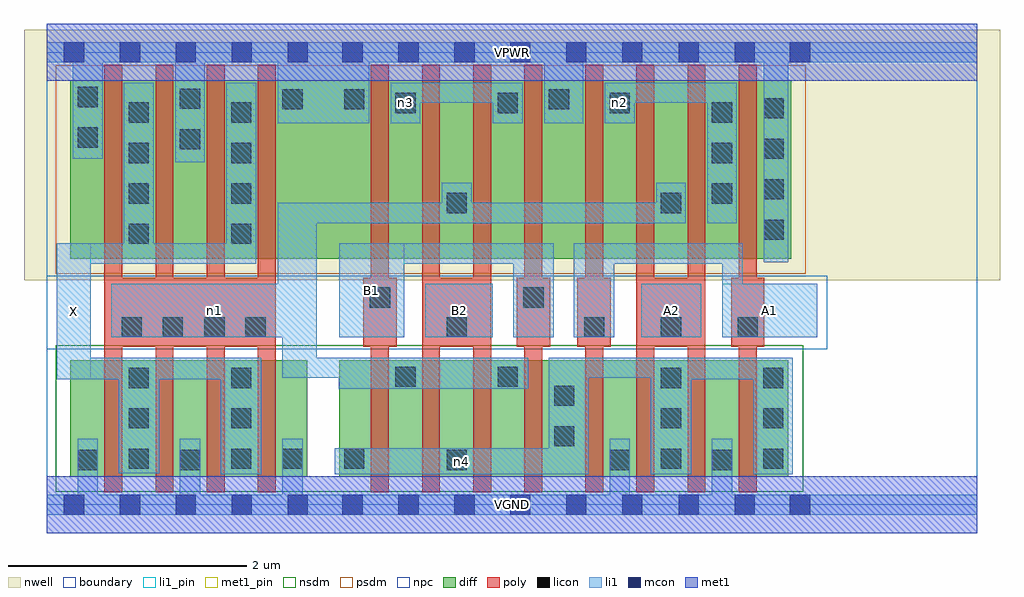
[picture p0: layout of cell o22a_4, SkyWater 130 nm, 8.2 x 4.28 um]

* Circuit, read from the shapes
.subckt o22a_4 A1 A2 B1 B2 VGND VPWR X n1 n2 n3 n4
XM1 X n1 VGND VSUBS sky130_fd_pr__nfet_01v8 w=0.98 l=0.15 m=4
XM2 n1 B1 n4 VSUBS sky130_fd_pr__nfet_01v8 w=0.98 l=0.15 m=2
XM3 n4 B2 n1 VSUBS sky130_fd_pr__nfet_01v8 w=0.98 l=0.15 m=2
XM4 VGND A1 n4 VSUBS sky130_fd_pr__nfet_01v8 w=0.98 l=0.15 m=2
XM5 n4 A2 VGND VSUBS sky130_fd_pr__nfet_01v8 w=0.98 l=0.15 m=2
XM6 X n1 VPWR n5 sky130_fd_pr__pfet_01v8 w=1.5 l=0.15 m=4
XM7 n3 B1 VPWR n5 sky130_fd_pr__pfet_01v8 w=1.5 l=0.15 m=2
XM8 n1 B2 n3 n5 sky130_fd_pr__pfet_01v8 w=1.5 l=0.15 m=2
XM9 n2 A1 VPWR n5 sky130_fd_pr__pfet_01v8 w=1.5 l=0.15 m=2
XM10 n1 A2 n2 n5 sky130_fd_pr__pfet_01v8 w=1.5 l=0.15 m=2
.ends

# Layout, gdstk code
import gdstk
lib = gdstk.Library(unit=1e-6, precision=1e-09)
def R(c, l, rs):  # rectangles x0, y0, x1, y1
    for r in rs: c.add(gdstk.rectangle(r[:2], r[2:], *l))
def A(c, l, x, y, w, h, nx, ny, dx, dy):  # array of equal rectangles
    R(c, l, [(x+i*dx, y+j*dy, x+i*dx+w, y+j*dy+h) for i in range(nx) for j in range(ny)])
nwell = (64, 20)
diff = (65, 20)
poly = (66, 20)
licon = (66, 44)
li1_pin = (67, 16)
li1 = (67, 20)
mcon = (67, 44)
met1_pin = (68, 16)
met1 = (68, 20)
nsdm = (93, 44)
psdm = (94, 20)
npc = (95, 20)
boundary = (235, 4)

o22a_4 = lib.new_cell('o22a_4')
R(o22a_4, nwell, [(-0.19,1.885,8.01,3.99), (0,1.885,7.82,3.99)])
R(o22a_4, diff, [(0.2,0.235,2.19,1.215), (2.46,0.235,6.23,1.215), (0.2,2.065,6.255,3.565)])
A(o22a_4, poly, 0.485, 0.105, 0.15, 3.59, 4, 1, 0.43, 0)
A(o22a_4, poly, 2.725, 0.105, 0.15, 3.59, 4, 1, 0.43, 0)
A(o22a_4, poly, 4.525, 0.105, 0.15, 3.59, 4, 1, 0.43, 0)
R(o22a_4, poly, [(0.485,1.325,1.925,1.905), (2.66,1.325,2.94,1.905), (3.155,1.325,3.735,1.905), (3.95,1.325,4.23,1.905), (4.46,1.325,4.74,1.905), (4.955,1.325,5.535,1.905), (5.75,1.325,6.03,1.905)])
A(o22a_4, licon, 0.69, 0.3, 0.17, 0.17, 1, 3, 0, 0.34)
A(o22a_4, licon, 1.55, 0.3, 0.17, 0.17, 1, 3, 0, 0.34)
A(o22a_4, licon, 5.16, 0.3, 0.17, 0.17, 1, 3, 0, 0.34)
A(o22a_4, licon, 6.02, 0.3, 0.17, 0.17, 1, 3, 0, 0.34)
A(o22a_4, licon, 4.515, 1.405, 0.17, 0.17, 3, 1, 0.645, 0)
A(o22a_4, licon, 0.69, 2.19, 0.17, 0.17, 1, 4, 0, 0.34)
A(o22a_4, licon, 1.55, 2.19, 0.17, 0.17, 1, 4, 0, 0.34)
A(o22a_4, licon, 6.025, 2.225, 0.17, 0.17, 1, 4, 0, 0.34)
A(o22a_4, licon, 5.59, 2.53, 0.17, 0.17, 1, 3, 0, 0.34)
R(o22a_4, licon, [(0.26,0.29,0.43,0.46), (1.12,0.29,1.29,0.46), (3.36,0.29,3.53,0.46), (4.73,0.29,4.9,0.46), (5.59,0.29,5.76,0.46), (1.98,0.3,2.15,0.47), (2.5,0.3,2.67,0.47), (4.265,0.49,4.435,0.66), (4.265,0.83,4.435,1), (2.93,0.99,3.1,1.16), (3.79,0.99,3.96,1.16), (0.63,1.405,0.8,1.575), (0.975,1.405,1.145,1.575), (1.325,1.405,1.495,1.575), (1.67,1.405,1.84,1.575), (3.36,1.405,3.53,1.575), (2.715,1.655,2.885,1.825), (4.005,1.655,4.175,1.825), (3.36,2.45,3.53,2.62), (5.16,2.45,5.33,2.62), (1.12,2.985,1.29,3.155), (0.26,3,0.43,3.17), (2.93,3.29,3.1,3.46), (3.79,3.29,3.96,3.46), (4.73,3.29,4.9,3.46), (1.98,3.32,2.15,3.49), (2.5,3.32,2.67,3.49), (4.22,3.32,4.39,3.49), (1.12,3.325,1.29,3.495), (0.26,3.34,0.43,3.51)])
R(o22a_4, li1_pin, [(0.085,1.055,0.37,2.195), (2.46,1.405,3.005,2.195), (3.18,1.405,3.75,1.855), (4.995,1.405,5.5,1.855), (5.675,1.405,6.475,1.855)])
A(o22a_4, li1, 0.26, -0.085, 0.17, 0.64, 3, 1, 0.86, 0)
R(o22a_4, li1, [(0,-0.085,7.82,0.085), (4.73,-0.085,4.9,0.555), (5.59,-0.085,5.76,0.555), (1.465,0.255,1.805,1.235), (2.42,0.255,4.555,0.475), (4.22,0.255,4.555,1.235), (5.075,0.255,5.415,1.235), (5.935,0.255,6.27,1.235), (0.605,0.265,0.945,1.235), (2.455,0.975,4.045,1.235), (0.085,1.055,1.805,1.235), (0.085,1.055,0.37,2.195), (5.075,1.055,6.27,1.235), (1.98,1.065,2.27,2.535), (1.98,1.065,4.045,1.235), (4.22,1.065,6.27,1.235), (0.545,1.405,2.27,1.855), (1.94,1.405,2.27,2.535), (2.46,1.405,3.005,2.195), (3.18,1.405,3.75,1.855), (3.92,1.405,4.26,2.195), (4.43,1.405,4.77,2.195), (4.995,1.405,5.5,1.855), (5.675,1.405,6.475,1.855), (5.675,1.405,5.85,2.195), (0.085,2.025,1.76,2.195), (0.65,2.025,0.9,3.545), (1.51,2.025,1.76,3.545), (2.46,2.025,4.26,2.195), (4.43,2.025,5.85,2.195), (6.025,2.035,6.23,3.885), (1.94,2.365,5.37,2.535), (3.32,2.365,3.57,2.705), (5.12,2.365,5.37,2.705), (5.55,2.365,5.8,3.545), (1.08,2.875,1.33,3.885), (0.22,2.905,0.47,3.885), (1.94,3.205,2.71,3.885), (2.89,3.205,3.14,3.545), (3.75,3.205,4,3.545), (4.18,3.205,4.51,3.885), (4.69,3.205,4.94,3.545), (2.89,3.375,4,3.545), (4.69,3.375,5.8,3.545), (0,3.715,7.82,3.885)])
A(o22a_4, mcon, 0.145, -0.085, 0.17, 0.17, 5, 2, 0.47, 3.8)
A(o22a_4, mcon, 2.485, -0.085, 0.17, 0.17, 6, 2, 0.47, 3.8)
R(o22a_4, mcon, [(5.31,-0.085,5.48,0.085), (5.78,-0.085,5.95,0.085), (6.245,-0.085,6.415,0.085), (5.31,3.715,5.48,3.885), (5.78,3.715,5.95,3.885), (6.245,3.715,6.415,3.885)])
R(o22a_4, met1_pin, [(0,-0.24,7.82,0.24), (0,3.56,7.82,4.04)])
R(o22a_4, met1, [(0,-0.24,7.82,0.24), (0,3.56,7.82,4.04)])
R(o22a_4, nsdm, [(0.075,0.11,6.355,1.34)])
R(o22a_4, psdm, [(0.075,1.94,6.38,3.69)])
R(o22a_4, npc, [(0,1.305,6.56,1.925)])
R(o22a_4, boundary, [(0,0,7.82,3.8)])
o22a_4.add(gdstk.Label('A1', (6.075,1.63), layer=67, texttype=5))
o22a_4.add(gdstk.Label('A2', (5.247,1.63), layer=67, texttype=5))
o22a_4.add(gdstk.Label('B1', (2.732,1.8), layer=67, texttype=5))
o22a_4.add(gdstk.Label('B2', (3.465,1.63), layer=67, texttype=5))
o22a_4.add(gdstk.Label('X', (0.227,1.625), layer=67, texttype=5))
o22a_4.add(gdstk.Label('n4', (3.487,0.365), layer=67, texttype=5))
o22a_4.add(gdstk.Label('n1', (1.407,1.63), layer=67, texttype=5))
o22a_4.add(gdstk.Label('n3', (3.015,3.375), layer=67, texttype=5))
o22a_4.add(gdstk.Label('n2', (4.815,3.375), layer=67, texttype=5))
o22a_4.add(gdstk.Label('VPWR', (3.91,3.8), layer=68, texttype=5))
o22a_4.add(gdstk.Label('VGND', (3.91,0), layer=68, texttype=5))
o22a_4.add(gdstk.Label('A1', (6.075,1.63), layer=67, texttype=16))
o22a_4.add(gdstk.Label('A2', (5.247,1.63), layer=67, texttype=16))
o22a_4.add(gdstk.Label('B1', (2.732,1.8), layer=67, texttype=16))
o22a_4.add(gdstk.Label('B2', (3.465,1.63), layer=67, texttype=16))
o22a_4.add(gdstk.Label('X', (0.227,1.625), layer=67, texttype=16))
o22a_4.add(gdstk.Label('VPWR', (3.91,3.8), layer=68, texttype=16))
o22a_4.add(gdstk.Label('VGND', (3.91,0), layer=68, texttype=16))

lib.write_gds('o22a_4.gds')
